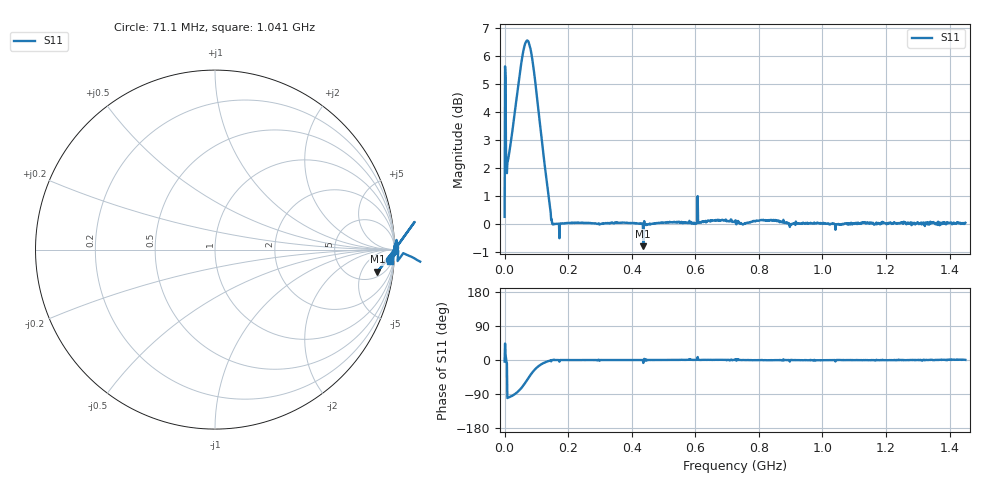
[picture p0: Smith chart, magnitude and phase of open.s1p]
! Created with skrf 1.11.0 (http://scikit-rf.org).
# Hz S RI R 50.0
!freq ReS11 ImS11
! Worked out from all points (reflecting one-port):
!   1001 points, 50 kHz to 1.45 GHz, reference 50 ohm
!   lowest |S11| = -0.8 dB at 436.5 MHz (marker M1), VSWR 22.15, Z = 341 - j509 ohm
!   phase of S11 starts at -4 deg and turns +4 deg over the sweep
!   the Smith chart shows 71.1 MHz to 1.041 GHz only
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50000  1.028 -0.0739
8749700  -0.2325 -1.265
1.019965e7  -0.2223 -1.278
1.16496e7  -0.2132 -1.292
1.599945e7  -0.185 -1.345
2.759905e7  -0.0691 -1.513
3.77487e7  0.1019 -1.676
4.64484e7  0.3261 -1.806
5.659805e7  0.6888 -1.884
6.529775e7  1.061 -1.822
7.54474e7  1.447 -1.547
8.269715e7  1.609 -1.259
8.99469e7  1.662 -0.9635
9.86466e7  1.621 -0.6616
1.058964e8  1.541 -0.4663
1.14596e8  1.424 -0.2985
1.247457e8  1.287 -0.1615
1.363453e8  1.143 -0.067
1.493948e8  1.006 -0.00234
1.812938e8  1.004 -0.000696
3.625375e8  1.006 -0.000994
4.36485e8  0.9052 -0.1236
5.437812e8  1.006 0.00702
7.25025e8  1.01 0.00471
9.062688e8  1.002 -0.00648
1.087512e9  0.999 -0.00159
1.268756e9  1.002 -0.00759
1.45e9  1.006 0.00537
